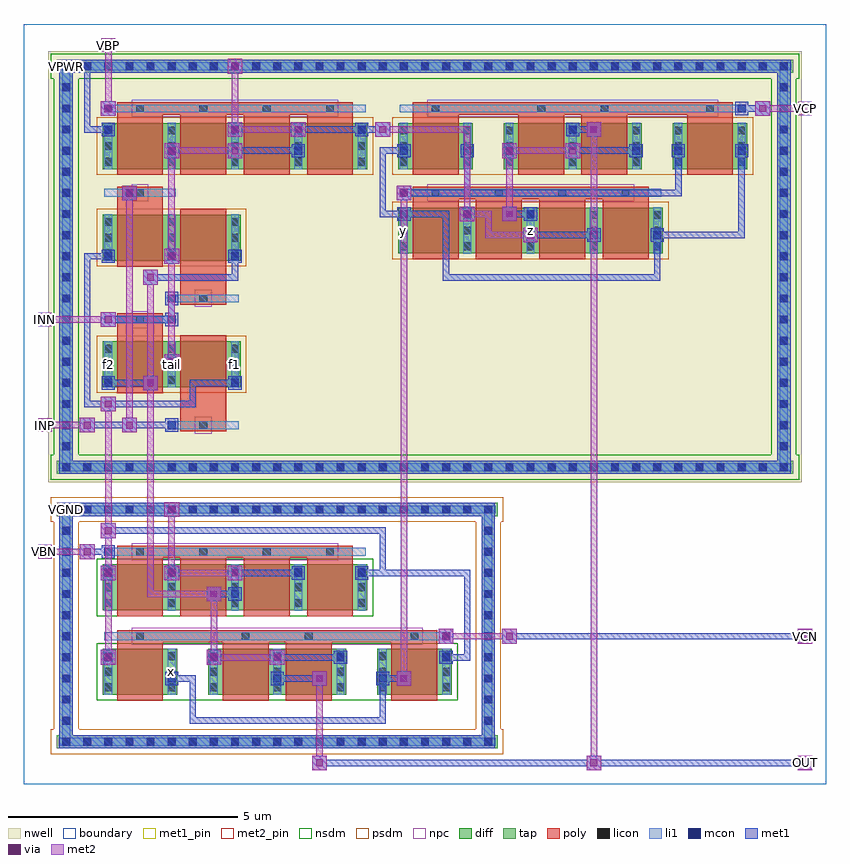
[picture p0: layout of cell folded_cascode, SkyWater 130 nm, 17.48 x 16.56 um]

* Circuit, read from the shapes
.subckt folded_cascode INN INP OUT VBN VBP VCN VCP VGND VPWR f1 f2 tail x y z
XM1 x VCN f1 VGND sky130_fd_pr__nfet_01v8 w=1 l=1 m=2
XM2 VGND VBN f1 VGND sky130_fd_pr__nfet_01v8 w=1 l=1 m=2
XM3 f2 VBN VGND VGND sky130_fd_pr__nfet_01v8 w=1 l=1 m=2
XM4 OUT VCN f2 VGND sky130_fd_pr__nfet_01v8 w=1 l=1 m=2
XM5 tail INN f2 VPWR sky130_fd_pr__pfet_01v8 w=1 l=1 m=2
XM6 tail INP f1 VPWR sky130_fd_pr__pfet_01v8 w=1 l=1 m=2
XM7 tail VBP VPWR VPWR sky130_fd_pr__pfet_01v8 w=1 l=1 m=4
XM8 VPWR x y VPWR sky130_fd_pr__pfet_01v8 w=1 l=1 m=2
XM9 x VCP y VPWR sky130_fd_pr__pfet_01v8 w=1 l=1 m=2
XM10 z x VPWR VPWR sky130_fd_pr__pfet_01v8 w=1 l=1 m=2
XM11 OUT VCP z VPWR sky130_fd_pr__pfet_01v8 w=1 l=1 m=2
.ends

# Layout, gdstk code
import gdstk
lib = gdstk.Library(unit=1e-6, precision=1e-09)
def R(c, l, rs):  # rectangles x0, y0, x1, y1
    for r in rs: c.add(gdstk.rectangle(r[:2], r[2:], *l))
def A(c, l, x, y, w, h, nx, ny, dx, dy):  # array of equal rectangles
    R(c, l, [(x+i*dx, y+j*dy, x+i*dx+w, y+j*dy+h) for i in range(nx) for j in range(ny)])
nwell = (64, 20)
diff = (65, 20)
tap = (65, 44)
poly = (66, 20)
licon = (66, 44)
li1 = (67, 20)
mcon = (67, 44)
met1_pin = (68, 16)
met1 = (68, 20)
via = (68, 44)
met2_pin = (69, 16)
met2 = (69, 20)
nsdm = (93, 44)
psdm = (94, 20)
npc = (95, 20)
boundary = (235, 4)

folded_cascode = lib.new_cell('folded_cascode')
R(folded_cascode, nwell, [(0.535,6.575,16.945,15.965)])
R(folded_cascode, diff, [(1.715,1.945,3.345,2.945), (4.015,1.945,7.025,2.945), (7.695,1.945,9.325,2.945), (1.715,3.785,7.485,4.785), (1.715,8.645,4.725,9.645), (1.715,11.405,4.725,12.405), (8.155,11.56,13.925,12.56), (1.715,13.4,7.485,14.4), (8.155,13.4,9.785,14.4), (10.455,13.4,13.465,14.4), (14.135,13.4,15.765,14.4)])
R(folded_cascode, tap, [(0.715,0.775,10.325,1.065), (0.775,0.775,1.065,6.125), (9.975,0.775,10.265,6.125), (0.715,5.835,10.325,6.125), (0.715,6.755,16.765,7.045), (0.775,6.755,1.065,15.785), (16.415,6.755,16.705,15.785), (0.715,15.495,16.765,15.785)])
A(folded_cascode, poly, 2.03, 3.655, 1, 1.405, 4, 1, 1.38, 0)
A(folded_cascode, poly, 8.47, 11.43, 1, 1.45, 4, 1, 1.38, 0)
A(folded_cascode, poly, 2.03, 13.27, 1, 1.45, 4, 1, 1.38, 0)
R(folded_cascode, poly, [(2.03,1.815,3.03,3.22), (4.33,1.815,5.33,3.22), (5.71,1.815,6.71,3.22), (8.01,1.815,9.01,3.22), (2.03,3.085,9.01,3.355), (2.03,4.925,7.17,5.195), (3.41,7.685,4.41,7.955), (3.41,7.82,4.41,9.775), (2.03,8.515,3.03,10.12), (2.03,9.985,3.03,10.255), (3.41,10.445,4.41,10.715), (3.41,10.58,4.41,12.535), (2.03,11.275,3.03,12.88), (2.03,12.745,3.03,13.015), (8.47,12.745,13.61,13.015), (8.47,13.27,9.47,14.72), (10.77,13.27,11.77,14.72), (12.15,13.27,13.15,14.72), (14.45,13.27,15.45,14.72), (2.03,14.585,7.17,14.855), (8.47,14.585,15.45,14.855)])
A(folded_cascode, licon, 0.835, 0.835, 0.17, 0.17, 21, 2, 0.46, 5.06)
A(folded_cascode, licon, 0.835, 1.295, 0.17, 0.17, 1, 10, 0, 0.46)
A(folded_cascode, licon, 10.035, 1.295, 0.17, 0.17, 1, 10, 0, 0.46)
A(folded_cascode, licon, 1.755, 2.02, 0.17, 0.17, 1, 3, 0, 0.34)
A(folded_cascode, licon, 3.135, 2.02, 0.17, 0.17, 1, 3, 0, 0.34)
A(folded_cascode, licon, 4.055, 2.02, 0.17, 0.17, 3, 3, 1.38, 0.34)
A(folded_cascode, licon, 7.735, 2.02, 0.17, 0.17, 1, 3, 0, 0.34)
A(folded_cascode, licon, 9.115, 2.02, 0.17, 0.17, 1, 3, 0, 0.34)
A(folded_cascode, licon, 1.755, 3.86, 0.17, 0.17, 5, 3, 1.38, 0.34)
A(folded_cascode, licon, 2.445, 4.975, 0.17, 0.17, 4, 2, 1.38, 9.66)
A(folded_cascode, licon, 0.835, 6.815, 0.17, 0.17, 35, 2, 0.46, 8.74)
A(folded_cascode, licon, 0.835, 7.275, 0.17, 0.17, 1, 18, 0, 0.46)
A(folded_cascode, licon, 16.475, 7.275, 0.17, 0.17, 1, 18, 0, 0.46)
A(folded_cascode, licon, 1.755, 8.72, 0.17, 0.17, 3, 3, 1.38, 0.34)
A(folded_cascode, licon, 1.755, 11.48, 0.17, 0.17, 3, 3, 1.38, 0.34)
A(folded_cascode, licon, 8.195, 11.635, 0.17, 0.17, 5, 3, 1.38, 0.34)
A(folded_cascode, licon, 8.885, 12.795, 0.17, 0.17, 4, 1, 1.38, 0)
A(folded_cascode, licon, 1.755, 13.475, 0.17, 0.17, 5, 3, 1.38, 0.34)
A(folded_cascode, licon, 8.195, 13.475, 0.17, 0.17, 1, 3, 0, 0.34)
A(folded_cascode, licon, 9.575, 13.475, 0.17, 0.17, 1, 3, 0, 0.34)
A(folded_cascode, licon, 10.495, 13.475, 0.17, 0.17, 3, 3, 1.38, 0.34)
A(folded_cascode, licon, 14.175, 13.475, 0.17, 0.17, 1, 3, 0, 0.34)
A(folded_cascode, licon, 15.555, 13.475, 0.17, 0.17, 1, 3, 0, 0.34)
R(folded_cascode, licon, [(2.445,3.135,2.615,3.305), (4.745,3.135,4.915,3.305), (6.125,3.135,6.295,3.305), (8.425,3.135,8.595,3.305), (3.825,7.735,3.995,7.905), (2.445,10.035,2.615,10.205), (3.825,10.495,3.995,10.665), (2.445,12.795,2.615,12.965), (8.885,14.635,9.055,14.805), (11.185,14.635,11.355,14.805), (12.565,14.635,12.735,14.805), (14.865,14.635,15.035,14.805)])
A(folded_cascode, li1, 4.055, 1.94, 0.17, 1.01, 3, 1, 1.38, 0)
A(folded_cascode, li1, 1.755, 3.78, 0.17, 1.01, 5, 2, 1.38, 9.615)
A(folded_cascode, li1, 1.755, 8.64, 0.17, 1.01, 3, 2, 1.38, 2.76)
A(folded_cascode, li1, 8.195, 11.555, 0.17, 1.01, 5, 1, 1.38, 0)
A(folded_cascode, li1, 10.495, 13.395, 0.17, 1.01, 3, 1, 1.38, 0)
R(folded_cascode, li1, [(0.755,0.835,10.285,1.005), (0.835,0.835,1.005,6.065), (10.035,0.835,10.205,6.065), (1.755,1.94,1.925,2.95), (3.135,1.94,3.305,2.95), (7.735,1.94,7.905,2.95), (9.115,1.94,9.285,2.95), (1.755,3.135,9.285,3.305), (1.755,4.975,7.445,5.145), (0.755,5.895,10.285,6.065), (0.755,6.815,16.725,6.985), (0.835,6.815,1.005,15.725), (16.475,6.815,16.645,15.725), (3.135,7.735,4.685,7.905), (1.755,10.035,3.305,10.205), (3.135,10.495,4.685,10.665), (1.755,12.795,3.305,12.965), (8.195,12.795,13.885,12.965), (8.195,13.395,8.365,14.405), (9.575,13.395,9.745,14.405), (14.175,13.395,14.345,14.405), (15.555,13.395,15.725,14.405), (1.755,14.635,7.445,14.805), (8.195,14.635,15.725,14.805), (0.755,15.555,16.725,15.725)])
A(folded_cascode, mcon, 0.835, 0.835, 0.17, 0.17, 21, 2, 0.46, 5.06)
A(folded_cascode, mcon, 0.835, 2.215, 0.17, 0.17, 5, 1, 2.3, 0)
A(folded_cascode, mcon, 0.835, 2.675, 0.17, 0.17, 1, 7, 0, 0.46)
A(folded_cascode, mcon, 10.035, 2.675, 0.17, 0.17, 1, 7, 0, 0.46)
A(folded_cascode, mcon, 0.835, 6.815, 0.17, 0.17, 35, 2, 0.46, 8.74)
A(folded_cascode, mcon, 0.835, 7.275, 0.17, 0.17, 1, 18, 0, 0.46)
A(folded_cascode, mcon, 16.475, 7.275, 0.17, 0.17, 1, 18, 0, 0.46)
A(folded_cascode, mcon, 1.755, 11.415, 0.17, 0.17, 3, 1, 1.38, 0)
A(folded_cascode, mcon, 8.195, 12.335, 0.17, 0.17, 3, 1, 1.38, 0)
A(folded_cascode, mcon, 1.755, 14.175, 0.17, 0.17, 3, 1, 2.76, 0)
R(folded_cascode, mcon, [(0.835,1.295,1.005,1.465), (10.035,1.295,10.205,1.465), (0.835,1.755,1.005,1.925), (10.035,1.755,10.205,1.925), (1.755,2.675,1.925,2.845), (4.055,2.675,4.225,2.845), (6.815,2.675,6.985,2.845), (9.115,2.675,9.285,2.845), (9.115,3.135,9.285,3.305), (4.515,4.055,4.685,4.225), (1.755,4.515,1.925,4.685), (3.135,4.515,3.305,4.685), (5.895,4.515,6.065,4.685), (7.275,4.515,7.445,4.685), (1.755,4.975,1.925,5.145), (3.135,7.735,3.305,7.905), (1.755,8.655,1.925,8.825), (4.515,8.655,4.685,8.825), (3.135,9.115,3.305,9.285), (3.135,10.035,3.305,10.205), (3.135,10.495,3.305,10.665), (12.335,11.875,12.505,12.045), (13.715,11.875,13.885,12.045), (2.215,12.795,2.385,12.965), (8.195,12.795,8.365,12.965), (3.135,13.715,3.305,13.885), (5.895,13.715,6.065,13.885), (8.195,13.715,8.365,13.885), (9.575,13.715,9.745,13.885), (10.495,13.715,10.665,13.885), (13.255,13.715,13.425,13.885), (14.175,13.715,14.345,13.885), (15.555,13.715,15.725,13.885), (11.875,14.175,12.045,14.345), (1.755,14.635,1.925,14.805), (15.555,14.635,15.725,14.805)])
R(folded_cascode, met1_pin, [(0.85,5.91,0.99,6.05), (0.85,15.57,0.99,15.71)])
A(folded_cascode, met1, 3.075, 2.155, 0.29, 0.29, 3, 1, 2.3, 0)
A(folded_cascode, met1, 1.68, 2.6, 0.32, 0.32, 1, 3, 0, 2.76)
A(folded_cascode, met1, 1.68, 4.44, 0.32, 0.32, 3, 1, 1.38, 0)
A(folded_cascode, met1, 3.06, 9.04, 0.32, 0.32, 1, 3, 0, 2.3)
A(folded_cascode, met1, 1.695, 11.355, 0.29, 0.29, 3, 1, 1.38, 0)
A(folded_cascode, met1, 8.135, 12.275, 0.29, 0.29, 3, 1, 1.38, 0)
A(folded_cascode, met1, 1.695, 14.115, 0.29, 0.29, 3, 1, 2.76, 0)
R(folded_cascode, met1, [(6.28,0.3,6.6,0.62), (12.26,0.3,12.58,0.62), (16.86,0.3,17.18,0.62), (6.37,0.39,17.09,0.53), (0.775,0.775,10.265,1.065), (0.775,0.775,1.065,6.125), (9.975,0.775,10.265,6.125), (3.61,1.31,3.75,2.37), (3.61,1.31,7.89,1.45), (7.75,1.31,7.89,2.37), (6.28,2.14,6.6,2.46), (8.12,2.14,8.44,2.46), (3.15,2.23,3.75,2.37), (5.45,2.23,6.51,2.37), (7.75,2.23,8.35,2.37), (3.98,2.6,4.3,2.92), (5.36,2.6,5.68,2.92), (1.695,2.615,1.985,2.905), (3.995,2.615,4.285,2.905), (6.755,2.615,7.045,2.905), (9.055,2.615,9.345,2.905), (5.45,2.69,6.97,2.83), (9.13,2.69,9.73,2.83), (9.59,2.69,9.73,4.67), (9.04,3.06,9.36,3.38), (10.42,3.06,10.74,3.38), (16.86,3.06,17.18,3.38), (9.055,3.075,9.345,3.365), (10.51,3.15,17.09,3.29), (3.98,3.98,4.3,4.3), (4.455,3.995,4.745,4.285), (4.07,4.07,4.67,4.21), (1.695,4.455,1.985,4.745), (3.075,4.455,3.365,4.745), (5.835,4.455,6.125,4.745), (7.215,4.455,7.505,4.745), (4.53,4.53,6.05,4.67), (7.29,4.53,7.89,4.67), (7.75,4.53,9.73,4.67), (7.75,4.53,7.89,5.59), (1.22,4.9,1.54,5.22), (1.695,4.915,1.985,5.205), (1.31,4.99,1.91,5.13), (1.77,5.45,7.89,5.59), (3.06,5.82,3.38,6.14), (0.775,5.835,10.265,6.125), (0.85,5.91,3.29,6.05), (0.85,5.91,0.99,6.05), (3.15,5.91,3.29,6.05), (0.775,6.755,16.705,7.045), (0.775,6.755,1.065,15.785), (16.415,6.755,16.705,15.785), (1.22,7.66,1.54,7.98), (2.14,7.66,2.46,7.98), (3.075,7.675,3.365,7.965), (1.31,7.75,3.29,7.89), (1.31,8.21,3.75,8.35), (1.31,8.21,1.45,11.57), (3.61,8.21,3.75,8.81), (2.6,8.58,2.92,8.9), (1.695,8.595,1.985,8.885), (4.455,8.595,4.745,8.885), (1.77,8.67,2.83,8.81), (3.61,8.67,4.67,8.81), (3.075,9.055,3.365,9.345), (1.68,9.96,2,10.28), (3.075,9.975,3.365,10.265), (1.77,10.05,3.29,10.19), (3.15,10.05,3.29,10.65), (3.075,10.435,3.365,10.725), (2.6,10.88,2.92,11.2), (2.69,10.97,4.67,11.11), (4.53,10.97,4.67,11.57), (9.13,10.97,9.27,12.49), (9.13,10.97,13.87,11.11), (13.73,10.97,13.87,12.03), (1.31,11.43,1.91,11.57), (10.88,11.8,11.2,12.12), (12.275,11.815,12.565,12.105), (13.655,11.815,13.945,12.105), (10.97,11.89,12.49,12.03), (13.73,11.89,15.71,12.03), (15.57,11.89,15.71,13.87), (9.5,12.26,9.82,12.58), (10.42,12.26,10.74,12.58), (7.75,12.35,7.89,13.87), (7.75,12.35,8.35,12.49), (8.21,12.35,9.27,12.49), (10.51,12.35,11.11,12.49), (2.14,12.72,2.46,13.04), (8.12,12.72,8.44,13.04), (2.155,12.735,2.445,13.025), (8.135,12.735,8.425,13.025), (8.21,12.81,9.73,12.95), (9.59,12.81,14.33,12.95), (9.59,12.81,9.73,13.87), (14.19,12.81,14.33,13.87), (4.44,13.64,4.76,13.96), (10.42,13.64,10.74,13.96), (11.8,13.64,12.12,13.96), (3.075,13.655,3.365,13.945), (5.835,13.655,6.125,13.945), (8.135,13.655,8.425,13.945), (9.515,13.655,9.805,13.945), (10.435,13.655,10.725,13.945), (13.195,13.655,13.485,13.945), (14.115,13.655,14.405,13.945), (15.495,13.655,15.785,13.945), (4.53,13.73,6.05,13.87), (7.75,13.73,8.35,13.87), (11.89,13.73,13.41,13.87), (4.44,14.1,4.76,14.42), (5.82,14.1,6.14,14.42), (7.66,14.1,7.98,14.42), (12.26,14.1,12.58,14.42), (11.815,14.115,12.105,14.405), (1.31,14.19,1.45,15.71), (1.31,14.19,1.91,14.33), (5.91,14.19,7.43,14.33), (7.29,14.19,7.89,14.33), (11.89,14.19,12.49,14.33), (1.68,14.56,2,14.88), (15.94,14.56,16.26,14.88), (1.695,14.575,1.985,14.865), (15.495,14.575,15.785,14.865), (15.57,14.65,16.17,14.79), (4.44,15.48,4.76,15.8), (0.775,15.495,16.705,15.785), (0.85,15.57,0.99,15.71), (0.85,15.57,4.67,15.71), (4.53,15.57,4.67,15.71)])
A(folded_cascode, via, 1.765, 2.685, 0.15, 0.15, 1, 3, 0, 2.76)
A(folded_cascode, via, 1.765, 4.525, 0.15, 0.15, 3, 1, 1.38, 0)
A(folded_cascode, via, 3.145, 9.125, 0.15, 0.15, 1, 3, 0, 2.3)
R(folded_cascode, via, [(6.365,0.385,6.515,0.535), (12.345,0.385,12.495,0.535), (16.945,0.385,17.095,0.535), (6.365,2.225,6.515,2.375), (8.205,2.225,8.355,2.375), (4.065,2.685,4.215,2.835), (5.445,2.685,5.595,2.835), (9.125,3.145,9.275,3.295), (10.505,3.145,10.655,3.295), (16.945,3.145,17.095,3.295), (4.065,4.065,4.215,4.215), (1.305,4.985,1.455,5.135), (3.145,5.905,3.295,6.055), (1.305,7.745,1.455,7.895), (2.225,7.745,2.375,7.895), (2.685,8.665,2.835,8.815), (1.765,10.045,1.915,10.195), (2.685,10.965,2.835,11.115), (10.965,11.885,11.115,12.035), (9.585,12.345,9.735,12.495), (10.505,12.345,10.655,12.495), (2.225,12.805,2.375,12.955), (8.205,12.805,8.355,12.955), (4.525,13.725,4.675,13.875), (10.505,13.725,10.655,13.875), (11.885,13.725,12.035,13.875), (4.525,14.185,4.675,14.335), (5.905,14.185,6.055,14.335), (7.745,14.185,7.895,14.335), (12.345,14.185,12.495,14.335), (1.765,14.645,1.915,14.795), (16.025,14.645,16.175,14.795), (4.525,15.565,4.675,15.715)])
R(folded_cascode, met2_pin, [(16.87,0.31,17.17,0.61), (16.87,3.07,17.17,3.37), (0.31,4.91,0.61,5.21), (0.31,7.67,0.61,7.97), (0.31,9.97,0.61,10.27), (16.87,14.57,17.17,14.87), (1.69,15.95,1.99,16.25)])
A(folded_cascode, met2, 1.68, 2.6, 0.32, 0.32, 1, 3, 0, 2.76)
A(folded_cascode, met2, 1.68, 4.44, 0.32, 0.32, 3, 1, 1.38, 0)
A(folded_cascode, met2, 3.06, 9.04, 0.32, 0.32, 1, 3, 0, 2.3)
R(folded_cascode, met2, [(6.28,0.3,6.6,0.62), (12.26,0.3,12.58,0.62), (16.86,0.3,17.18,0.62), (16.87,0.31,17.17,0.61), (6.37,0.39,6.51,2.37), (12.35,0.39,12.49,14.33), (16.95,0.39,17.09,0.53), (6.28,2.14,6.6,2.46), (8.12,2.14,8.44,2.46), (8.21,2.23,8.35,12.95), (3.98,2.6,4.3,2.92), (5.36,2.6,5.68,2.92), (1.77,2.69,1.91,4.67), (4.07,2.69,4.21,4.21), (4.07,2.69,5.59,2.83), (9.04,3.06,9.36,3.38), (10.42,3.06,10.74,3.38), (16.86,3.06,17.18,3.38), (16.87,3.07,17.17,3.37), (9.13,3.15,10.65,3.29), (16.95,3.15,17.09,3.29), (3.98,3.98,4.3,4.3), (2.69,4.07,4.21,4.21), (2.69,4.07,2.83,8.81), (1.77,4.53,1.91,8.35), (3.15,4.53,3.29,6.05), (3.15,4.53,4.67,4.67), (1.22,4.9,1.54,5.22), (0.31,4.91,0.61,5.21), (0.39,4.99,0.53,5.13), (0.39,4.99,1.45,5.13), (3.06,5.82,3.38,6.14), (1.22,7.66,1.54,7.98), (2.14,7.66,2.46,7.98), (0.31,7.67,0.61,7.97), (0.39,7.75,0.53,7.89), (0.39,7.75,1.45,7.89), (2.23,7.75,2.37,12.95), (2.6,8.58,2.92,8.9), (2.69,8.67,2.83,11.11), (3.15,9.13,3.29,11.57), (1.68,9.96,2,10.28), (0.31,9.97,0.61,10.27), (0.39,10.05,1.91,10.19), (0.39,10.05,0.53,10.19), (2.6,10.88,2.92,11.2), (3.15,11.43,3.29,13.87), (10.88,11.8,11.2,12.12), (10.05,11.89,11.11,12.03), (10.05,11.89,10.19,12.49), (9.5,12.26,9.82,12.58), (10.42,12.26,10.74,12.58), (9.59,12.35,9.73,14.33), (9.59,12.35,10.19,12.49), (10.51,12.35,10.65,13.87), (2.14,12.72,2.46,13.04), (8.12,12.72,8.44,13.04), (4.44,13.64,4.76,13.96), (10.42,13.64,10.74,13.96), (11.8,13.64,12.12,13.96), (3.15,13.73,4.67,13.87), (10.51,13.73,12.03,13.87), (4.44,14.1,4.76,14.42), (5.82,14.1,6.14,14.42), (7.66,14.1,7.98,14.42), (12.26,14.1,12.58,14.42), (4.53,14.19,4.67,15.71), (4.53,14.19,6.05,14.33), (7.75,14.19,9.73,14.33), (1.68,14.56,2,14.88), (15.94,14.56,16.26,14.88), (16.87,14.57,17.17,14.87), (1.77,14.65,1.91,16.17), (16.03,14.65,17.09,14.79), (16.95,14.65,17.09,14.79), (4.44,15.48,4.76,15.8), (1.69,15.95,1.99,16.25), (1.77,16.03,1.91,16.17)])
R(folded_cascode, nsdm, [(1.59,1.82,9.45,3.07), (1.59,3.66,7.61,4.91), (0.59,6.63,16.89,7.17), (0.65,7.17,1.19,15.37), (16.29,7.17,16.83,15.37), (0.59,15.37,16.89,15.91)])
R(folded_cascode, psdm, [(0.59,0.65,10.45,1.19), (0.65,1.19,1.19,5.71), (9.85,1.19,10.39,5.71), (0.59,5.71,10.45,6.25), (1.59,8.52,4.85,9.77), (1.59,11.28,4.85,12.53), (8.03,11.435,14.05,12.685), (1.59,13.275,7.61,14.525), (8.03,13.275,15.89,14.525)])
R(folded_cascode, npc, [(2.345,3.035,8.695,3.405), (2.345,4.875,6.855,5.245), (3.725,7.635,4.095,8.005), (2.345,9.935,2.715,10.305), (3.725,10.395,4.095,10.765), (2.345,12.695,2.715,13.065), (8.785,12.695,13.295,13.065), (2.345,14.535,6.855,14.905), (8.785,14.535,15.135,14.905)])
R(folded_cascode, boundary, [(0,0,17.48,16.56)])
folded_cascode.add(gdstk.Label('f2', (1.84,9.145), layer=67, texttype=5))
folded_cascode.add(gdstk.Label('tail', (3.22,9.145), layer=67, texttype=5))
folded_cascode.add(gdstk.Label('f1', (4.6,9.145), layer=67, texttype=5))
folded_cascode.add(gdstk.Label('x', (3.22,2.445), layer=67, texttype=5))
folded_cascode.add(gdstk.Label('y', (8.28,12.06), layer=67, texttype=5))
folded_cascode.add(gdstk.Label('z', (11.04,12.06), layer=67, texttype=5))
folded_cascode.add(gdstk.Label('VPWR', (0.92,15.64), layer=68, texttype=5))
folded_cascode.add(gdstk.Label('VGND', (0.92,5.98), layer=68, texttype=5))
folded_cascode.add(gdstk.Label('INP', (0.46,7.82), layer=69, texttype=5))
folded_cascode.add(gdstk.Label('INN', (0.46,10.12), layer=69, texttype=5))
folded_cascode.add(gdstk.Label('VBN', (0.46,5.06), layer=69, texttype=5))
folded_cascode.add(gdstk.Label('VCN', (17.02,3.22), layer=69, texttype=5))
folded_cascode.add(gdstk.Label('VBP', (1.84,16.1), layer=69, texttype=5))
folded_cascode.add(gdstk.Label('VCP', (17.02,14.72), layer=69, texttype=5))
folded_cascode.add(gdstk.Label('OUT', (17.02,0.46), layer=69, texttype=5))
folded_cascode.add(gdstk.Label('VPWR', (0.92,15.64), layer=68, texttype=16))
folded_cascode.add(gdstk.Label('VGND', (0.92,5.98), layer=68, texttype=16))
folded_cascode.add(gdstk.Label('INP', (0.46,7.82), layer=69, texttype=16))
folded_cascode.add(gdstk.Label('INN', (0.46,10.12), layer=69, texttype=16))
folded_cascode.add(gdstk.Label('VBN', (0.46,5.06), layer=69, texttype=16))
folded_cascode.add(gdstk.Label('VCN', (17.02,3.22), layer=69, texttype=16))
folded_cascode.add(gdstk.Label('VBP', (1.84,16.1), layer=69, texttype=16))
folded_cascode.add(gdstk.Label('VCP', (17.02,14.72), layer=69, texttype=16))
folded_cascode.add(gdstk.Label('OUT', (17.02,0.46), layer=69, texttype=16))

lib.write_gds('folded_cascode.gds')
